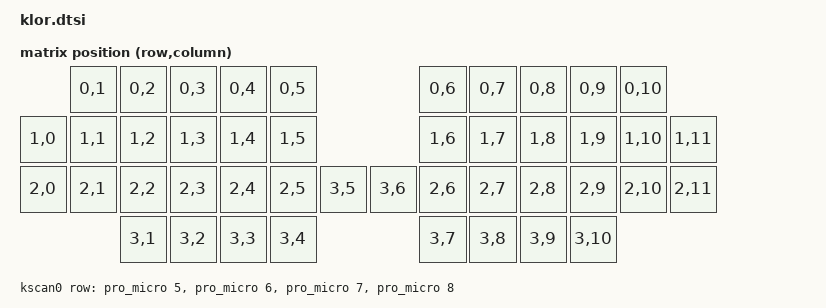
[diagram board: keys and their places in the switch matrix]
/*
 * Copyright (c) 2022 The ZMK Contributors
 * SPDX-License-Identifier: MIT
 */

#include "klor_common.dtsi"
#include <physical_layouts.dtsi>

/ {
    chosen {
        zmk,physical-layout = &klor_layout;
    };

    /* KLOR 42-key matrix layout (+ 2 encoder positions = 44 total positions)
     *
     *           ┌─────────┬─────────┬─────────┬─────────┬─────────┐                    ┌─────────┬─────────┬─────────┬─────────┬─────────┐
     *           │  0,1    │  0,2    │  0,3    │  0,4    │  0,5    │                    │  0,6    │  0,7    │  0,8    │  0,9    │  0,10   │
     * ┌─────────┼─────────┼─────────┼─────────┼─────────┼─────────┤                    ├─────────┼─────────┼─────────┼─────────┼─────────┼─────────┐
     * │  1,0    │  1,1    │  1,2    │  1,3    │  1,4    │  1,5    │                    │  1,6    │  1,7    │  1,8    │  1,9    │  1,10   │  1,11   │
     * ├─────────┼─────────┼─────────┼─────────┼─────────┼─────────┤╭────────╮╭────────╮├─────────┼─────────┼─────────┼─────────┼─────────┼─────────┤
     * │  2,0    │  2,1    │  2,2    │  2,3    │  2,4    │  2,5    ││  3,5   ││  3,6   ││  2,6    │  2,7    │  2,8    │  2,9    │  2,10   │  2,11   │
     * └─────────┴─────────┴─────────┼─────────┼─────────┼─────────┼╰────────╯╰────────╯┼─────────┼─────────┼─────────┼─────────┴─────────┴─────────┘
     *                               │  3,1    │  3,2    │  3,3    │  3,4    ││  3,7    │  3,8    │  3,9    │  3,10   │
     *                               └─────────┴─────────┴─────────┴─────────┘└─────────┴─────────┴─────────┴─────────┘
     */
    default_transform: keymap_transform_0 {
        compatible = "zmk,matrix-transform";
        columns = <12>;
        rows = <4>;
        map = <
                RC(0,1) RC(0,2) RC(0,3) RC(0,4) RC(0,5)                 RC(0,6) RC(0,7) RC(0,8) RC(0,9) RC(0,10)
        RC(1,0) RC(1,1) RC(1,2) RC(1,3) RC(1,4) RC(1,5)                 RC(1,6) RC(1,7) RC(1,8) RC(1,9) RC(1,10) RC(1,11)
        RC(2,0) RC(2,1) RC(2,2) RC(2,3) RC(2,4) RC(2,5) RC(3,5) RC(3,6) RC(2,6) RC(2,7) RC(2,8) RC(2,9) RC(2,10) RC(2,11)
                                RC(3,1) RC(3,2) RC(3,3) RC(3,4) RC(3,7) RC(3,8) RC(3,9) RC(3,10)
        >;
    };

    klor_layout: klor_layout {
        compatible = "zmk,physical-layout";
        display-name = "KLOR";
        transform = <&default_transform>;
        kscan = <&kscan0>;

        /* KLOR 42-key physical layout (+ 2 encoder positions)
         * Top row: 5 keys per side (no outer pinky)
         * Middle row: 6 keys per side (with outer pinky)
         * Bottom row: 6 keys per side + encoder between thumb cluster
         * Thumb cluster: 4 keys per side
         */
        keys
            // Row 0 (top row) - 5 keys left, 5 keys right (indices 0-9)
            = <&key_physical_attrs 100 100  100   0 0 0 0>  // Q
            , <&key_physical_attrs 100 100  200   0 0 0 0>  // W
            , <&key_physical_attrs 100 100  300   0 0 0 0>  // E
            , <&key_physical_attrs 100 100  400   0 0 0 0>  // R
            , <&key_physical_attrs 100 100  500   0 0 0 0>  // T
            , <&key_physical_attrs 100 100  800   0 0 0 0>  // Y
            , <&key_physical_attrs 100 100  900   0 0 0 0>  // U
            , <&key_physical_attrs 100 100 1000   0 0 0 0>  // I
            , <&key_physical_attrs 100 100 1100   0 0 0 0>  // O
            , <&key_physical_attrs 100 100 1200   0 0 0 0>  // P
            // Row 1 (home row) - 6 keys left, 6 keys right (indices 10-21)
            , <&key_physical_attrs 100 100    0 100 0 0 0>  // TAB
            , <&key_physical_attrs 100 100  100 100 0 0 0>  // A
            , <&key_physical_attrs 100 100  200 100 0 0 0>  // S
            , <&key_physical_attrs 100 100  300 100 0 0 0>  // D
            , <&key_physical_attrs 100 100  400 100 0 0 0>  // F
            , <&key_physical_attrs 100 100  500 100 0 0 0>  // G
            , <&key_physical_attrs 100 100  800 100 0 0 0>  // H
            , <&key_physical_attrs 100 100  900 100 0 0 0>  // J
            , <&key_physical_attrs 100 100 1000 100 0 0 0>  // K
            , <&key_physical_attrs 100 100 1100 100 0 0 0>  // L
            , <&key_physical_attrs 100 100 1200 100 0 0 0>  // ;
            , <&key_physical_attrs 100 100 1300 100 0 0 0>  // '
            // Row 2 (bottom row) - 6 keys left + encoder, encoder + 6 keys right (indices 22-35)
            , <&key_physical_attrs 100 100    0 200 0 0 0>  // SHIFT
            , <&key_physical_attrs 100 100  100 200 0 0 0>  // Z
            , <&key_physical_attrs 100 100  200 200 0 0 0>  // X
            , <&key_physical_attrs 100 100  300 200 0 0 0>  // C
            , <&key_physical_attrs 100 100  400 200 0 0 0>  // V
            , <&key_physical_attrs 100 100  500 200 0 0 0>  // B
            , <&key_physical_attrs 100 100  600 200 0 0 0>  // Left encoder
            , <&key_physical_attrs 100 100  700 200 0 0 0>  // Right encoder
            , <&key_physical_attrs 100 100  800 200 0 0 0>  // N
            , <&key_physical_attrs 100 100  900 200 0 0 0>  // M
            , <&key_physical_attrs 100 100 1000 200 0 0 0>  // ,
            , <&key_physical_attrs 100 100 1100 200 0 0 0>  // .
            , <&key_physical_attrs 100 100 1200 200 0 0 0>  // /
            , <&key_physical_attrs 100 100 1300 200 0 0 0>  // SHIFT
            // Thumb cluster - 4 keys left, 4 keys right (indices 36-43)
            , <&key_physical_attrs 100 100  200 300 0 0 0>  // ESC
            , <&key_physical_attrs 100 100  300 300 0 0 0>  // NAV/RET
            , <&key_physical_attrs 100 100  400 300 0 0 0>  // TAB
            , <&key_physical_attrs 100 100  500 300 0 0 0>  // LSHFT
            , <&key_physical_attrs 100 100  800 300 0 0 0>  // RSHFT
            , <&key_physical_attrs 100 100  900 300 0 0 0>  // SYM/SPC
            , <&key_physical_attrs 100 100 1000 300 0 0 0>  // NUM/BSP
            , <&key_physical_attrs 100 100 1100 300 0 0 0>  // FUN/DEL
            ;
    };
};

&kscan0 {
    row-gpios
        = <&pro_micro 5 (GPIO_ACTIVE_HIGH | GPIO_PULL_DOWN)>
        , <&pro_micro 6 (GPIO_ACTIVE_HIGH | GPIO_PULL_DOWN)>
        , <&pro_micro 7 (GPIO_ACTIVE_HIGH | GPIO_PULL_DOWN)>
        , <&pro_micro 8 (GPIO_ACTIVE_HIGH | GPIO_PULL_DOWN)>
        ;
};
